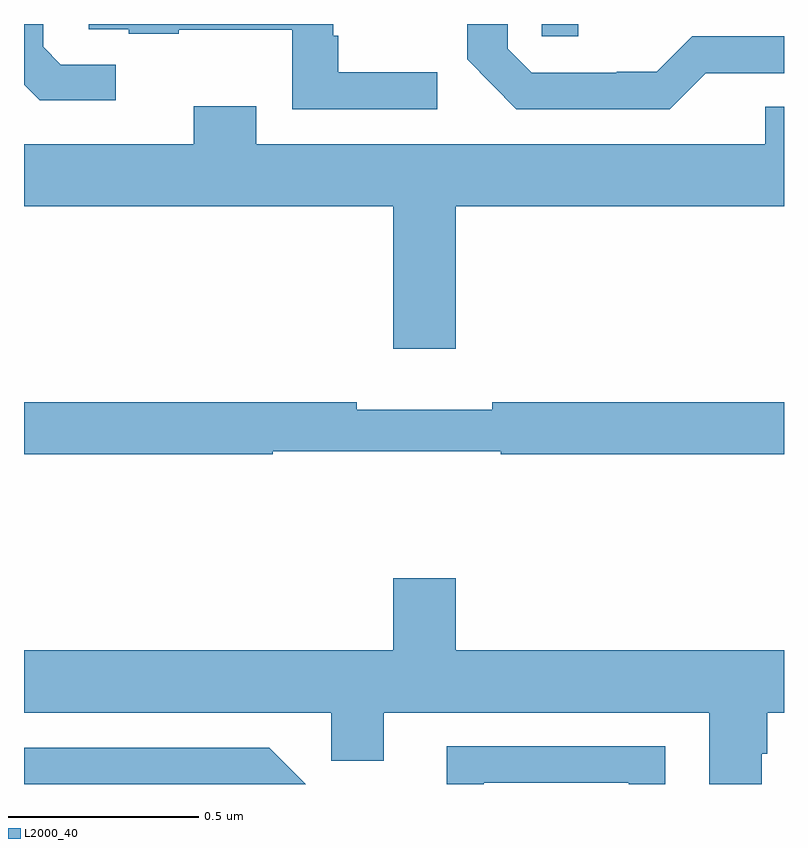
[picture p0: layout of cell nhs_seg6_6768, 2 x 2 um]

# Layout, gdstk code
import gdstk
lib = gdstk.Library(unit=1e-6, precision=1e-09)
def R(c, l, rs):  # rectangles x0, y0, x1, y1
    for r in rs: c.add(gdstk.rectangle(r[:2], r[2:], *l))
def P(c, l, *ps):  # polygons
    for p in ps: c.add(gdstk.Polygon(p, *l))
L2000_40 = (2000, 40)

nhs_seg6_6768 = lib.new_cell('nhs_seg6_6768')
R(nhs_seg6_6768, L2000_40, [(201.363,930.468,201.459,930.5)])
P(nhs_seg6_6768, L2000_40, [(201.794,930.371),(202,930.371),(202,930.468),(201.759,930.468),(201.665,930.374),(201.56,930.374),(201.56,930.372),(201.336,930.372),(201.273,930.435),(201.273,930.5),(201.166,930.5),(201.166,930.407),(201.296,930.276),(201.699,930.276)],
  [(200.242,930.393),(200.097,930.393),(200.05,930.44),(200.05,930.5),(200,930.5),(200,930.34),(200.041,930.299),(200.242,930.299)],
  [(201.088,930.373),(200.827,930.373),(200.827,930.469),(200.814,930.469),(200.814,930.5),(200.171,930.5),(200.171,930.486),(200.275,930.486),(200.275,930.474),(200.407,930.474),(200.407,930.485),(200.706,930.485),(200.706,930.276),(201.088,930.276)],
  [(201.136,930.02),(202,930.02),(202,930.282),(201.95,930.282),(201.95,930.184),(200.611,930.184),(200.611,930.283),(200.447,930.283),(200.447,930.184),(200,930.184),(200,930.02),(200.972,930.02),(200.972,929.646),(201.136,929.646)],
  [(200.655,929.376),(201.255,929.376),(201.255,929.368),(202,929.368),(202,929.504),(201.232,929.504),(201.232,929.485),(200.876,929.485),(200.876,929.504),(200,929.504),(200,929.368),(200.655,929.368)],
  [(201.942,928.579),(201.956,928.579),(201.956,928.688),(202,928.688),(202,928.852),(201.136,928.852),(201.136,929.041),(200.972,929.041),(200.972,928.852),(200,928.852),(200,928.688),(200.808,928.688),(200.808,928.561),(200.947,928.561),(200.947,928.688),(201.803,928.688),(201.803,928.5),(201.942,928.5)],
  [(201.21,928.503),(201.591,928.503),(201.591,928.5),(201.687,928.5),(201.687,928.599),(201.113,928.599),(201.113,928.5),(201.21,928.5)],
  [(200.646,928.596),(200,928.596),(200,928.5),(200.742,928.5)])

lib.write_gds('nhs_seg6_6768.gds')
